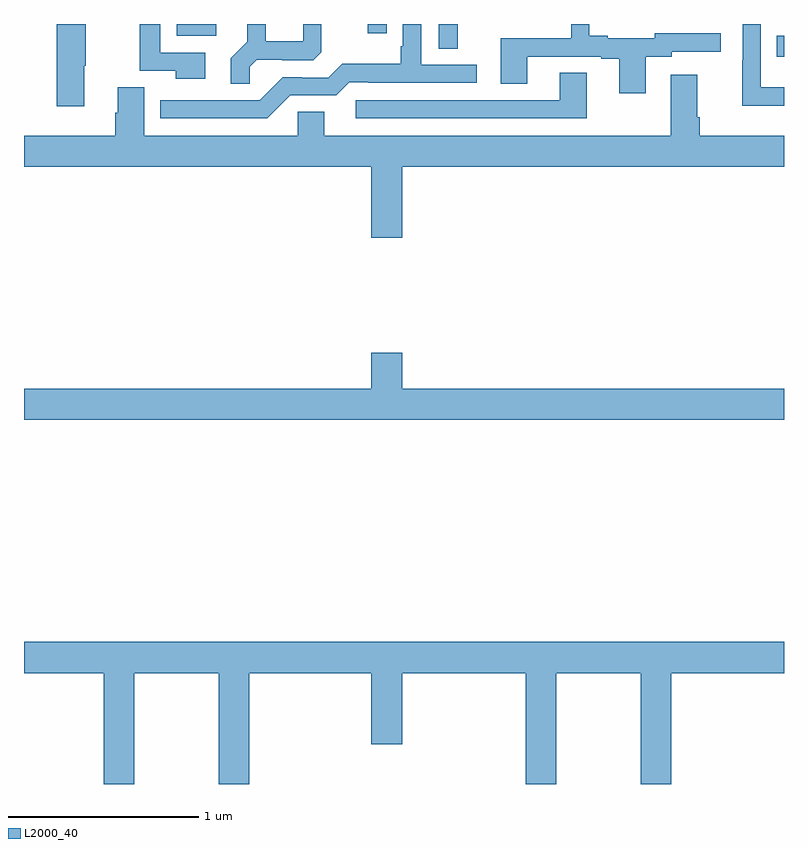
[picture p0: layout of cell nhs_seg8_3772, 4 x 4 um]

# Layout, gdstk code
import gdstk
lib = gdstk.Library(unit=1e-6, precision=1e-09)
def R(c, l, rs):  # rectangles x0, y0, x1, y1
    for r in rs: c.add(gdstk.rectangle(r[:2], r[2:], *l))
def P(c, l, *ps):  # polygons
    for p in ps: c.add(gdstk.Polygon(p, *l))
L2000_40 = (2000, 40)

nhs_seg8_3772 = lib.new_cell('nhs_seg8_3772')
R(nhs_seg8_3772, L2000_40, [(346.963,1135.727,347,1135.837), (345.183,1135.771,345.282,1135.9), (343.805,1135.838,344.011,1135.9), (344.808,1135.851,344.909,1135.9)])
P(nhs_seg8_3772, L2000_40, [(346.273,1135.728),(346.41,1135.728),(346.41,1135.755),(346.666,1135.755),(346.666,1135.851),(346.32,1135.851),(346.32,1135.824),(346.072,1135.824),(346.072,1135.837),(345.976,1135.837),(345.976,1135.9),(345.879,1135.9),(345.879,1135.824),(345.509,1135.824),(345.509,1135.585),(345.649,1135.585),(345.649,1135.728),(346.037,1135.728),(346.037,1135.716),(346.133,1135.716),(346.133,1135.536),(346.273,1135.536)],
  [(347,1135.567),(346.878,1135.567),(346.878,1135.9),(346.782,1135.9),(346.782,1135.709),(346.78,1135.709),(346.78,1135.469),(347,1135.469)],
  [(344.187,1135.676),(344.224,1135.713),(344.358,1135.713),(344.358,1135.71),(344.523,1135.71),(344.564,1135.751),(344.564,1135.9),(344.47,1135.9),(344.47,1135.81),(344.273,1135.81),(344.273,1135.9),(344.175,1135.9),(344.175,1135.807),(344.089,1135.721),(344.089,1135.585),(344.187,1135.585)],
  [(344.4,1135.524),(344.643,1135.524),(344.712,1135.593),(344.812,1135.593),(344.812,1135.59),(345.382,1135.59),(345.382,1135.686),(345.09,1135.686),(345.09,1135.9),(344.994,1135.9),(344.994,1135.783),(344.982,1135.783),(344.982,1135.69),(344.674,1135.69),(344.601,1135.617),(344.462,1135.617),(344.462,1135.62),(344.361,1135.62),(344.241,1135.5),(343.718,1135.5),(343.718,1135.404),(344.28,1135.404)],
  [(343.954,1135.749),(343.716,1135.749),(343.716,1135.9),(343.608,1135.9),(343.608,1135.653),(343.798,1135.653),(343.798,1135.613),(343.954,1135.613)],
  [(343.318,1135.679),(343.326,1135.679),(343.326,1135.9),(343.172,1135.9),(343.172,1135.467),(343.318,1135.467)],
  [(345.961,1135.643),(345.821,1135.643),(345.821,1135.5),(344.745,1135.5),(344.745,1135.404),(345.961,1135.404)],
  [(344.992,1135.148),(347,1135.148),(347,1135.312),(346.556,1135.312),(346.556,1135.408),(346.543,1135.408),(346.543,1135.633),(346.403,1135.633),(346.403,1135.312),(344.581,1135.312),(344.581,1135.439),(344.442,1135.439),(344.442,1135.312),(343.633,1135.312),(343.633,1135.568),(343.493,1135.568),(343.493,1135.434),(343.481,1135.434),(343.481,1135.312),(343,1135.312),(343,1135.148),(344.828,1135.148),(344.828,1134.774),(344.992,1134.774)],
  [(347,1133.98),(344.992,1133.98),(344.992,1134.169),(344.828,1134.169),(344.828,1133.98),(343,1133.98),(343,1133.816),(347,1133.816)],
  [(343.581,1132.484),(344.026,1132.484),(344.026,1131.9),(344.186,1131.9),(344.186,1132.484),(344.828,1132.484),(344.828,1132.11),(344.992,1132.11),(344.992,1132.484),(345.641,1132.484),(345.641,1131.9),(345.801,1131.9),(345.801,1132.484),(346.246,1132.484),(346.246,1131.9),(346.406,1131.9),(346.406,1132.484),(347,1132.484),(347,1132.648),(343,1132.648),(343,1132.484),(343.421,1132.484),(343.421,1131.9),(343.581,1131.9)])

lib.write_gds('nhs_seg8_3772.gds')
